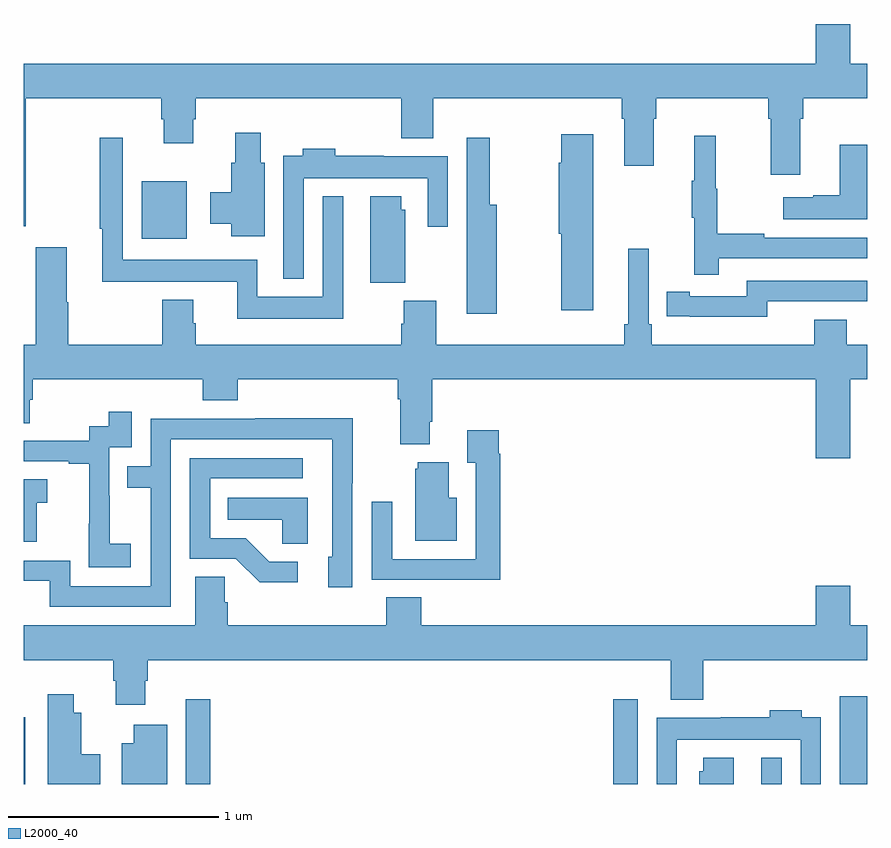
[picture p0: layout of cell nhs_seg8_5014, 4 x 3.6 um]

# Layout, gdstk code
import gdstk
lib = gdstk.Library(unit=1e-6, precision=1e-09)
def R(c, l, rs):  # rectangles x0, y0, x1, y1
    for r in rs: c.add(gdstk.rectangle(r[:2], r[2:], *l))
def P(c, l, *ps):  # polygons
    for p in ps: c.add(gdstk.Polygon(p, *l))
L2000_40 = (2000, 40)

nhs_seg8_5014 = lib.new_cell('nhs_seg8_5014')
R(nhs_seg8_5014, L2000_40, [(413,1127.9,413.007,1128.217), (413.769,1127.9,413.885,1128.301), (415.795,1127.9,415.911,1128.301), (416.498,1127.9,416.595,1128.025), (416.87,1127.9,417,1128.316), (413.558,1130.486,413.773,1130.758)])
P(nhs_seg8_5014, L2000_40, [(413.008,1131.152),(413.651,1131.152),(413.651,1131.054),(413.663,1131.054),(413.663,1130.94),(413.803,1130.94),(413.803,1131.054),(413.816,1131.054),(413.816,1131.152),(414.791,1131.152),(414.791,1130.963),(414.943,1130.963),(414.943,1131.152),(415.835,1131.152),(415.835,1131.056),(415.847,1131.056),(415.847,1130.832),(415.987,1130.832),(415.987,1131.056),(416,1131.056),(416,1131.152),(416.531,1131.152),(416.531,1131.056),(416.543,1131.056),(416.543,1130.79),(416.683,1130.79),(416.683,1131.056),(416.696,1131.056),(416.696,1131.152),(417,1131.152),(417,1131.316),(416.92,1131.316),(416.92,1131.505),(416.756,1131.505),(416.756,1131.316),(413,1131.316),(413,1130.546),(413.008,1130.546)],
  [(414.142,1130.847),(414.124,1130.847),(414.124,1130.989),(414.002,1130.989),(414.002,1130.847),(413.984,1130.847),(413.984,1130.706),(413.885,1130.706),(413.885,1130.558),(413.984,1130.558),(413.984,1130.499),(414.142,1130.499)],
  [(415.702,1130.983),(415.549,1130.983),(415.549,1130.847),(415.538,1130.847),(415.538,1130.511),(415.549,1130.511),(415.549,1130.148),(415.702,1130.148)],
  [(416.297,1130.394),(417,1130.394),(417,1130.49),(416.513,1130.49),(416.513,1130.51),(416.29,1130.51),(416.29,1130.724),(416.282,1130.724),(416.282,1130.974),(416.18,1130.974),(416.18,1130.761),(416.169,1130.761),(416.169,1130.587),(416.18,1130.587),(416.18,1130.316),(416.297,1130.316)],
  [(415.242,1130.647),(415.21,1130.647),(415.21,1130.965),(415.101,1130.965),(415.101,1130.543),(415.1,1130.543),(415.1,1130.13),(415.242,1130.13)],
  [(414.514,1130.689),(414.417,1130.689),(414.417,1130.212),(414.108,1130.212),(414.108,1130.386),(413.469,1130.386),(413.469,1130.965),(413.361,1130.965),(413.361,1130.533),(413.372,1130.533),(413.372,1130.282),(414.011,1130.282),(414.011,1130.108),(414.514,1130.108)],
  [(417,1130.932),(416.87,1130.932),(416.87,1130.693),(416.744,1130.693),(416.744,1130.683),(416.601,1130.683),(416.601,1130.579),(417,1130.579)],
  [(414.327,1130.774),(414.915,1130.774),(414.915,1130.544),(415.011,1130.544),(415.011,1130.878),(414.707,1130.878),(414.707,1130.881),(414.476,1130.881),(414.476,1130.914),(414.323,1130.914),(414.323,1130.881),(414.231,1130.881),(414.231,1130.297),(414.327,1130.297)],
  [(414.808,1130.625),(414.79,1130.625),(414.79,1130.689),(414.644,1130.689),(414.644,1130.278),(414.808,1130.278)],
  [(416.92,1129.82),(417,1129.82),(417,1129.984),(416.903,1129.984),(416.903,1130.101),(416.75,1130.101),(416.75,1129.984),(415.979,1129.984),(415.979,1130.08),(415.965,1130.08),(415.965,1130.44),(415.868,1130.44),(415.868,1130.08),(415.849,1130.08),(415.849,1129.984),(414.956,1129.984),(414.956,1130.193),(414.803,1130.193),(414.803,1130.084),(414.791,1130.084),(414.791,1129.984),(413.816,1129.984),(413.816,1130.085),(413.803,1130.085),(413.803,1130.197),(413.656,1130.197),(413.656,1129.984),(413.211,1129.984),(413.211,1130.186),(413.203,1130.186),(413.203,1130.446),(413.056,1130.446),(413.056,1129.984),(413,1129.984),(413,1129.612),(413.029,1129.612),(413.029,1129.722),(413.042,1129.722),(413.042,1129.82),(413.849,1129.82),(413.849,1129.721),(414.014,1129.721),(414.014,1129.82),(414.773,1129.82),(414.773,1129.724),(414.785,1129.724),(414.785,1129.511),(414.925,1129.511),(414.925,1129.618),(414.938,1129.618),(414.938,1129.82),(416.756,1129.82),(416.756,1129.446),(416.92,1129.446)],
  [(416.526,1130.19),(416.986,1130.19),(416.986,1130.189),(417,1130.189),(417,1130.286),(416.43,1130.286),(416.43,1130.214),(416.158,1130.214),(416.158,1130.234),(416.05,1130.234),(416.05,1130.118),(416.158,1130.118),(416.158,1130.117),(416.526,1130.117)],
  [(413.506,1129.039),(413.408,1129.039),(413.408,1129.268),(413.406,1129.268),(413.406,1129.497),(413.511,1129.497),(413.511,1129.666),(413.403,1129.666),(413.403,1129.596),(413.31,1129.596),(413.31,1129.527),(413,1129.527),(413,1129.431),(413.213,1129.431),(413.213,1129.419),(413.309,1129.419),(413.309,1129.135),(413.308,1129.135),(413.308,1128.929),(413.506,1128.929)],
  [(413.697,1129.536),(414.462,1129.536),(414.462,1128.978),(414.443,1128.978),(414.443,1128.834),(414.558,1128.834),(414.558,1129.327),(414.561,1129.327),(414.561,1129.634),(414.097,1129.634),(414.097,1129.632),(413.601,1129.632),(413.601,1129.407),(413.491,1129.407),(413.491,1129.306),(413.601,1129.306),(413.601,1128.837),(413.22,1128.837),(413.22,1128.96),(413,1128.96),(413,1128.864),(413.123,1128.864),(413.123,1128.741),(413.697,1128.741)],
  [(415.259,1129.466),(415.252,1129.466),(415.252,1129.579),(415.103,1129.579),(415.103,1129.423),(415.143,1129.423),(415.143,1128.966),(414.747,1128.966),(414.747,1129.24),(414.651,1129.24),(414.651,1128.87),(414.967,1128.87),(414.967,1128.869),(415.259,1128.869)],
  [(414.298,1128.954),(414.163,1128.954),(414.052,1129.065),(413.883,1129.065),(413.883,1129.35),(414.322,1129.35),(414.322,1129.446),(413.787,1129.446),(413.787,1128.969),(414.006,1128.969),(414.119,1128.857),(414.298,1128.857)],
  [(415.054,1129.258),(415.015,1129.258),(415.015,1129.426),(414.869,1129.426),(414.869,1129.395),(414.857,1129.395),(414.857,1129.055),(415.054,1129.055)],
  [(413.061,1129.235),(413.11,1129.235),(413.11,1129.345),(413,1129.345),(413,1129.05),(413.061,1129.05)],
  [(414.346,1129.258),(413.968,1129.258),(413.968,1129.154),(414.225,1129.154),(414.225,1129.039),(414.346,1129.039)],
  [(413.575,1128.39),(413.588,1128.39),(413.588,1128.488),(416.069,1128.488),(416.069,1128.299),(416.222,1128.299),(416.222,1128.488),(417,1128.488),(417,1128.652),(416.92,1128.652),(416.92,1128.841),(416.756,1128.841),(416.756,1128.652),(414.884,1128.652),(414.884,1128.785),(414.719,1128.785),(414.719,1128.652),(413.966,1128.652),(413.966,1128.761),(413.952,1128.761),(413.952,1128.884),(413.813,1128.884),(413.813,1128.652),(413,1128.652),(413,1128.488),(413.423,1128.488),(413.423,1128.39),(413.435,1128.39),(413.435,1128.276),(413.575,1128.276)],
  [(413.362,1128.042),(413.272,1128.042),(413.272,1128.238),(413.236,1128.238),(413.236,1128.325),(413.114,1128.325),(413.114,1127.9),(413.362,1127.9)],
  [(416.097,1128.11),(416.685,1128.11),(416.685,1127.9),(416.781,1127.9),(416.781,1128.217),(416.689,1128.217),(416.689,1128.25),(416.537,1128.25),(416.537,1128.217),(416.305,1128.217),(416.305,1128.214),(416.001,1128.214),(416.001,1127.9),(416.097,1127.9)],
  [(413.68,1128.181),(413.522,1128.181),(413.522,1128.094),(413.465,1128.094),(413.465,1127.9),(413.68,1127.9)],
  [(416.368,1128.025),(416.222,1128.025),(416.222,1127.961),(416.204,1127.961),(416.204,1127.9),(416.368,1127.9)])

lib.write_gds('nhs_seg8_5014.gds')
